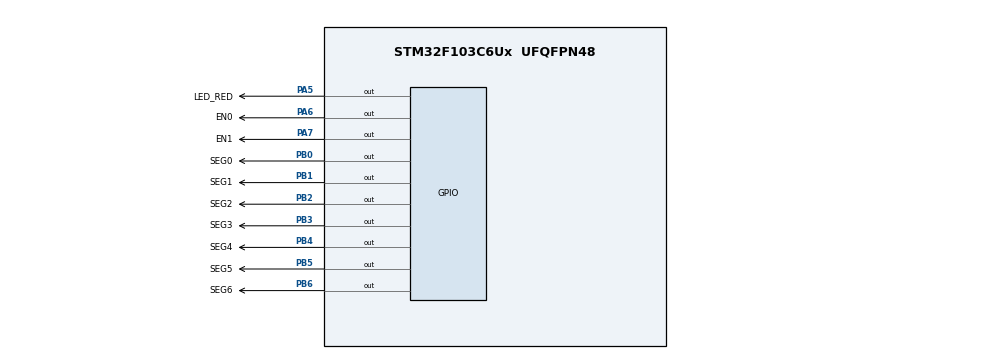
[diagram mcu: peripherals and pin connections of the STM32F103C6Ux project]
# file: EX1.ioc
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Mcu.Family=STM32F1
Mcu.Name=STM32F103C6Ux
Mcu.Package=UFQFPN48
NVIC.PriorityGroup=NVIC_PRIORITYGROUP_4
NVIC.TIM2_IRQn=true\:0\:0\:false\:false\:true\:true\:true
PA5.GPIO_Label=LED_RED
PA5.Signal=GPIO_Output
PA6.GPIO_Label=EN0
PA6.Signal=GPIO_Output
PA7.GPIO_Label=EN1
PA7.Signal=GPIO_Output
PB0.GPIO_Label=SEG0
PB0.Signal=GPIO_Output
PB1.GPIO_Label=SEG1
PB1.Signal=GPIO_Output
PB2.GPIO_Label=SEG2
PB2.Signal=GPIO_Output
PB3.GPIO_Label=SEG3
PB3.Signal=GPIO_Output
PB4.GPIO_Label=SEG4
PB4.Signal=GPIO_Output
PB5.GPIO_Label=SEG5
PB5.Signal=GPIO_Output
PB6.GPIO_Label=SEG6
PB6.Signal=GPIO_Output
ProjectManager.HeapSize=0x200
ProjectManager.StackSize=0x400
ProjectManager.TargetToolchain=STM32CubeIDE
RCC.APB1Freq_Value=8000000
RCC.APB2Freq_Value=8000000
TIM2.Period=9
TIM2.Prescaler=7999
VP_SYS_VS_ND.Mode=No_Debug
VP_TIM2_VS_ClockSourceINT.Mode=Internal
board=custom

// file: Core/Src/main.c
/* USER CODE BEGIN Header */
/**
  ******************************************************************************
  * @file           : main.c
  * @brief          : Main program body
  ******************************************************************************
  * @attention
  *
  * <h2><center>&copy; Copyright (c) 2022 STMicroelectronics.
  * All rights reserved.</center></h2>
  *
  * This software component is licensed by ST under BSD 3-Clause license,
  * the "License"; You may not use this file except in compliance with the
  * License. You may obtain a copy of the License at:
  *                        opensource.org/licenses/BSD-3-Clause
  *
  ******************************************************************************
  */
/* USER CODE END Header */
#include "main.h"

/* USER CODE BEGIN Includes */
#include "software_timer.h"
/* USER CODE END Includes */

TIM_HandleTypeDef htim2;

void SystemClock_Config(void);
static void MX_GPIO_Init(void);
static void MX_TIM2_Init(void);

int main(void)
{

  /* MCU Configuration--------------------------------------------------------*/

  /* Reset of all peripherals, Initializes the Flash interface and the Systick. */
  HAL_Init();

  /* Configure the system clock */
  SystemClock_Config();

  /* Initialize all configured peripherals */
  MX_GPIO_Init();
  MX_TIM2_Init();
  /* USER CODE BEGIN 2 */
  HAL_TIM_Base_Start_IT (& htim2 ) ;
  /* USER CODE END 2 */

  /* Infinite loop */
  while (1)
  {

  }
}

void SystemClock_Config(void)
{
  RCC_OscInitTypeDef RCC_OscInitStruct = {0};
  RCC_ClkInitTypeDef RCC_ClkInitStruct = {0};

  /** Initializes the RCC Oscillators according to the specified parameters
  * in the RCC_OscInitTypeDef structure.
  */
  RCC_OscInitStruct.OscillatorType = RCC_OSCILLATORTYPE_HSI;
  RCC_OscInitStruct.HSIState = RCC_HSI_ON;
  RCC_OscInitStruct.HSICalibrationValue = RCC_HSICALIBRATION_DEFAULT;
  RCC_OscInitStruct.PLL.PLLState = RCC_PLL_NONE;
  if (HAL_RCC_OscConfig(&RCC_OscInitStruct) != HAL_OK)
  {
    Error_Handler();
  }
  /** Initializes the CPU, AHB and APB buses clocks
  */
  RCC_ClkInitStruct.ClockType = RCC_CLOCKTYPE_HCLK|RCC_CLOCKTYPE_SYSCLK
                              |RCC_CLOCKTYPE_PCLK1|RCC_CLOCKTYPE_PCLK2;
  RCC_ClkInitStruct.SYSCLKSource = RCC_SYSCLKSOURCE_HSI;
  RCC_ClkInitStruct.AHBCLKDivider = RCC_SYSCLK_DIV1;
  RCC_ClkInitStruct.APB1CLKDivider = RCC_HCLK_DIV1;
  RCC_ClkInitStruct.APB2CLKDivider = RCC_HCLK_DIV1;

  if (HAL_RCC_ClockConfig(&RCC_ClkInitStruct, FLASH_LATENCY_0) != HAL_OK)
  {
    Error_Handler();
  }
}

static void MX_TIM2_Init(void)
{

  TIM_ClockConfigTypeDef sClockSourceConfig = {0};
  TIM_MasterConfigTypeDef sMasterConfig = {0};

  htim2.Instance = TIM2;
  htim2.Init.Prescaler = 7999;
  htim2.Init.CounterMode = TIM_COUNTERMODE_UP;
  htim2.Init.Period = 9;
  htim2.Init.ClockDivision = TIM_CLOCKDIVISION_DIV1;
  htim2.Init.AutoReloadPreload = TIM_AUTORELOAD_PRELOAD_DISABLE;
  if (HAL_TIM_Base_Init(&htim2) != HAL_OK)
  {
    Error_Handler();
  }
  sClockSourceConfig.ClockSource = TIM_CLOCKSOURCE_INTERNAL;
  if (HAL_TIM_ConfigClockSource(&htim2, &sClockSourceConfig) != HAL_OK)
  {
    Error_Handler();
  }
  sMasterConfig.MasterOutputTrigger = TIM_TRGO_RESET;
  sMasterConfig.MasterSlaveMode = TIM_MASTERSLAVEMODE_DISABLE;
  if (HAL_TIMEx_MasterConfigSynchronization(&htim2, &sMasterConfig) != HAL_OK)
  {
    Error_Handler();
  }

}

static void MX_GPIO_Init(void)
{
  GPIO_InitTypeDef GPIO_InitStruct = {0};

  /* GPIO Ports Clock Enable */
  __HAL_RCC_GPIOA_CLK_ENABLE();
  __HAL_RCC_GPIOB_CLK_ENABLE();

  /*Configure GPIO pin Output Level */
  HAL_GPIO_WritePin(GPIOA, LED_RED_Pin|EN0_Pin|EN1_Pin, GPIO_PIN_RESET);

  /*Configure GPIO pin Output Level */
  HAL_GPIO_WritePin(GPIOB, SEG0_Pin|SEG1_Pin|SEG2_Pin|SEG3_Pin
                          |SEG4_Pin|SEG5_Pin|SEG6_Pin, GPIO_PIN_RESET);

  /*Configure GPIO pins : LED_RED_Pin EN0_Pin EN1_Pin */
  GPIO_InitStruct.Pin = LED_RED_Pin|EN0_Pin|EN1_Pin;
  GPIO_InitStruct.Mode = GPIO_MODE_OUTPUT_PP;
  GPIO_InitStruct.Pull = GPIO_NOPULL;
  GPIO_InitStruct.Speed = GPIO_SPEED_FREQ_LOW;
  HAL_GPIO_Init(GPIOA, &GPIO_InitStruct);

  /*Configure GPIO pins : SEG0_Pin SEG1_Pin SEG2_Pin SEG3_Pin
                           SEG4_Pin SEG5_Pin SEG6_Pin */
  GPIO_InitStruct.Pin = SEG0_Pin|SEG1_Pin|SEG2_Pin|SEG3_Pin
                          |SEG4_Pin|SEG5_Pin|SEG6_Pin;
  GPIO_InitStruct.Mode = GPIO_MODE_OUTPUT_PP;
  GPIO_InitStruct.Pull = GPIO_NOPULL;
  GPIO_InitStruct.Speed = GPIO_SPEED_FREQ_LOW;
  HAL_GPIO_Init(GPIOB, &GPIO_InitStruct);

}

/* USER CODE BEGIN 4 */
void display7SEG(int count){
	  // ma hex display7Seg cua 0 den 10
	  int16_t array[10]={
			0x1,	//0
			0x79,	//1
			0x24,	//2
			0x30,	//3
			0x68,	//4
			0x79,	//5
			0x4,	//6
			0x71,	//7
			0x0,	//8
			0x20	//9
	  };
	  //day gia tri ma hex cua so can hien thi vao thanh ghi
	  GPIOB->ODR=array[count];
}
int counter=50;
//khai bao trang thai cua led7segment:
int state_led7segment=0;
void HAL_TIM_PeriodElapsedCallback ( TIM_HandleTypeDef * htim )
{
	counter--;
	if(counter<=0){
		counter=50;
		if(state_led7segment==0){
			//led7segment 1 bat, led7segment 2 tat
			HAL_GPIO_WritePin(EN0_GPIO_Port, EN0_Pin, 0);
			HAL_GPIO_WritePin(EN1_GPIO_Port, EN1_Pin, 1);
			display7SEG(1);
		}
		if(state_led7segment==1){
			//led7segment 1 bat, led7segment 2 tat
			HAL_GPIO_WritePin(EN0_GPIO_Port, EN0_Pin, 1);
			HAL_GPIO_WritePin(EN1_GPIO_Port, EN1_Pin, 0);
			display7SEG(2);
		}
		//reset lai gia tri cua state_led7segment
		state_led7segment=1-state_led7segment;
	}
 }
/* USER CODE END 4 */

void Error_Handler(void)
{
  __disable_irq();
  while (1)
  {
  }
}

/************************ (C) COPYRIGHT STMicroelectronics *****END OF FILE****/
